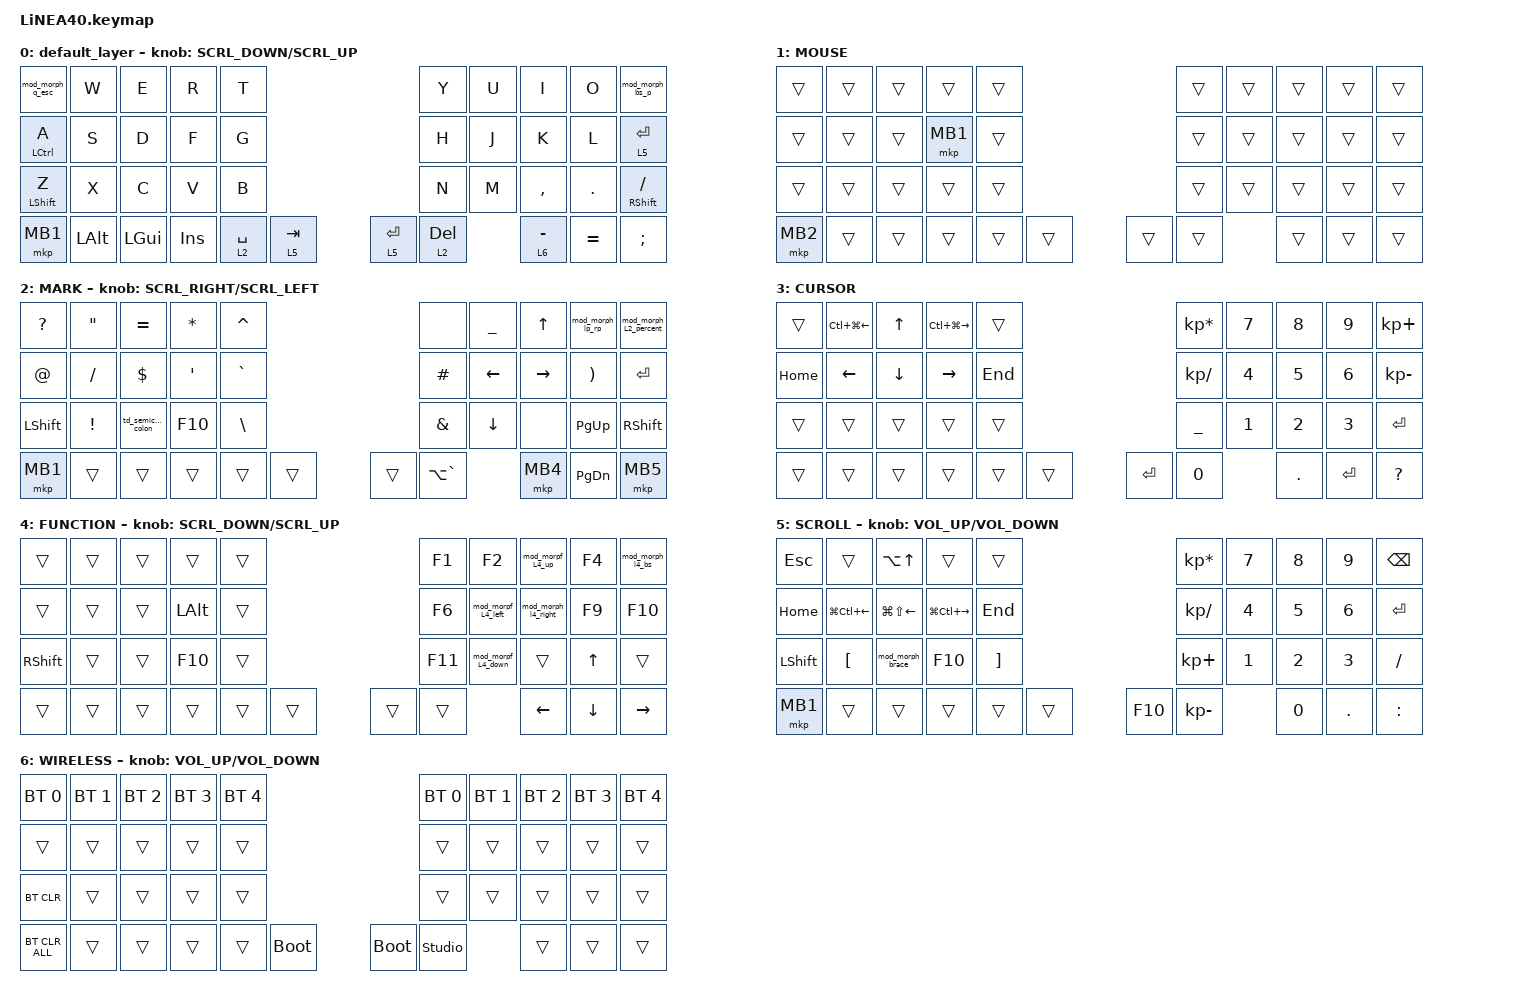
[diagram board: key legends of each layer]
#define ZMK_POINTING_DEFAULT_SCRL_VAL 150

#include <dt-bindings/zmk/input_transform.h>
#include <input/processors.dtsi>
#include <zephyr/dt-bindings/input/input-event-codes.h>
#include <behaviors.dtsi>
#include <dt-bindings/zmk/bt.h>
#include <dt-bindings/zmk/keys.h>
#include <dt-bindings/zmk/pointing.h>

#define MOUSE 1
#define MARK 2
#define CURSOR 3
#define FUNCTION 4
#define SCROLL 5
#define WIRELESS 6
#define COMBO_TERM 200

//mouse cursol

&mmv {
    delay-ms = <20>;
    trigger-period-ms = <5>;
    time-to-max-speed-ms = <100>;
    acceleration-exponent = <2>;
};

//mouse scroll

&msc {
    delay-ms = <3>;
    trigger-period-ms = <3>;
    time-to-max-speed-ms = <100>;
    acceleration-exponent = <0>;
};

/ {
    input_processors {
        zip_wheel_scaler: zip_wheel_scaler {
            compatible = "zmk,input-processor-scaler";
            #input-processor-cells = <2>;
            type = <INPUT_EV_REL>;
            codes = <INPUT_REL_WHEEL>;
            track-remainders;
        };
    };
};

&msc_input_listener {
    speed_up {
        layers = <FUNCTION>;
        input-processors = <&zip_wheel_scaler 3 1>; //スクロールを3倍速にする
    };
};

&trackball_listener {
    scroller {
        layers = <SCROLL>;
        input-processors =
            <&zip_xy_transform INPUT_TRANSFORM_Y_INVERT>,
            //スクロール方向を逆転,,,,,,,,,,,,,,,,,,,,,,,,,,,,,,,,,,,,,,,,,,,,,,,,,,,,,,,,,,,,,,,,,,,,,,,,,,,,,,,,,,,,,,,,,,,,,,,,,,,,,,,,,,,,,,,,,,,,,,,,,,,,,,,,,,,,,,,,,,,,,,,,,,,,,,,,,,,,,,,,,,,,,,,,,,,,,,,,,,,,,,,,,,,,,,,,,,,,,,,,,,,,,,,,,,,,,,,,,,,,,,,,,,,,,,,,,,,,,,,,,,,,,,,,,
            <&zip_xy_to_scroll_mapper>;
    };
};

/ {
    combos {
        compatible = "zmk,combos";

        Window {
            bindings = <&kp RIGHT_WIN>;
            key-positions = <17 16>;
            layers = <0 1>;
            slow-release;
        };

        Control {
            bindings = <&kp RCTRL>;
            key-positions = <18 17>;
            layers = <0 1>;
            slow-release;
        };

        p {
            bindings = <&kp P>;
            key-positions = <8 9>;
        };

        q {
            bindings = <&kp Q>;
            key-positions = <0 1>;
        };

        layer5 {
            bindings = <&mo 5>;
            key-positions = <34 23>;
            layers = <0 1>;
            slow-release;
        };

        layer4 {
            bindings = <&mo 4>;
            key-positions = <34 13>;
            layers = <0 1>;
            slow-release;
        };

        Right_Click2 {
            bindings = <&mkp MB2>;
            key-positions = <30 31>;
        };

        us_kana {
            bindings = <&kp LA(GRAVE)>;
            key-positions = <11 18>;
            layers = <0 1>;
        };

        aml_off {
            bindings = <&toggle_off 1>;
            key-positions = <12 17>;
        };
    };

    behaviors {
        re_kp: sensor_rotate_kp {
            compatible = "zmk,behavior-sensor-rotate-var";
            #sensor-binding-cells = <2>;
            bindings = <&kp>, <&kp>;
        };

        mouse_scrl: mouse_wheel_scrl {
            compatible = "zmk,behavior-sensor-rotate-var";
            #sensor-binding-cells = <2>;
            bindings = <&msc>, <&msc>;

            tap-ms = <20>;
        };

        td_tab_q: td_tab_q {
            compatible = "zmk,behavior-tap-dance";
            label = "td_tab_q";
            #binding-cells = <0>;
            bindings = <&kp TAB>, <&kp Q>;

            tapping-term-ms = <200>;
        };

        td_semicolon_colon: td_semicolon_colon {
            compatible = "zmk,behavior-tap-dance";
            label = "td_colon_behavior";
            #binding-cells = <0>;
            bindings = <&kp SEMICOLON>, <&kp COLON>;

            tapping-term-ms = <250>;
        };

        mod_morph_lp_rp: mod_morph_lp_rp_ {
            compatible = "zmk,behavior-mod-morph";
            label = "mod_morph_lp_rp";
            bindings = <&kp LEFT_PARENTHESIS>, <&kp RPAR>;

            #binding-cells = <0>;
            mods = <(MOD_LSFT|MOD_RSFT)>;
        };

        mod_morph_q_esc: mod_morph_q_esc_ {
            compatible = "zmk,behavior-mod-morph";
            label = "mod_morph_q_esc";
            bindings = <&kp ESCAPE>, <&kp Q>;

            #binding-cells = <0>;
            mods = <(MOD_RSFT)>;
        };

        mod_morph_bs_p: mod_morph_bs_p_ {
            compatible = "zmk,behavior-mod-morph";
            label = "mod_morph_bs_p";
            bindings = <&kp BACKSPACE>, <&kp P>;

            #binding-cells = <0>;
            mods = <(MOD_LSFT)>;
        };

        mod_morph_bracket: mod_morph_bracket_ {
            compatible = "zmk,behavior-mod-morph";
            label = "MOD_MORPH_BRACKET";
            bindings = <&kp LEFT_BRACKET>, <&kp RIGHT_BRACKET>;

            #binding-cells = <0>;
            mods = <(MOD_RSFT|MOD_LSFT)>;
        };

        mod_morph_brace: mod_morph_brace_ {
            compatible = "zmk,behavior-mod-morph";
            label = "MOD_MORPH_BRACE";
            bindings = <&kp LEFT_BRACE>, <&kp RIGHT_BRACE>;

            #binding-cells = <0>;
            mods = <(MOD_RSFT|MOD_LSFT)>;
        };

        mod_morph_del_percent: mod_morph_del_percent_ {
            compatible = "zmk,behavior-mod-morph";
            label = "MOD_MORPH_DEL_PERCENT";
            bindings = <&kp DELETE>, <&kp PERCENT>;

            #binding-cells = <0>;
            mods = <(MOD_LSFT|MOD_RSFT)>;
        };

        hold_tap_kp_kp: hold_tap_kp_kp_ {
            compatible = "zmk,behavior-hold-tap";
            label = "HOLD_TAP";
            bindings = <&kp>, <&kp>;

            #binding-cells = <2>;
            flavor = "balanced";
            tapping-term-ms = <200>;
            require-prior-idle-ms = <90>;
            quick-tap-ms = <90>;
        };

        hold_tap_lt_kp: hold_tap_lt_kp_ {
            compatible = "zmk,behavior-hold-tap";
            label = "HOLD_TAP_LT_KP";
            bindings = <&lt>, <&kp>;

            #binding-cells = <2>;
            flavor = "balanced";
            tapping-term-ms = <200>;
            require-prior-idle-ms = <100>;
            quick-tap-ms = <100>;
        };

        toggle_mode_off: toggle_mode_off_ {
            compatible = "zmk,behavior-toggle-layer";
            label = "TOGGLE_MODE_OFF";
            #binding-cells = <1>;
            toggle-mode = "off";
        };

        hold_tap_lt5: hold_tap_lt5 {
            compatible = "zmk,behavior-hold-tap";
            label = "HOLD_TAP_LT5";
            bindings = <&lt>, <&kp>;

            #binding-cells = <2>;
            flavor = "balanced";
            tapping-term-ms = <200>;
            require-prior-idle-ms = <100>;
            quick-tap-ms = <100>;
        };

        mod_morph_L2_percent: mod_morph_L2_percent_ {
            compatible = "zmk,behavior-mod-morph";
            label = "MOD_MORPH_L2_PERCENT";
            bindings = <&kp DELETE>, <&kp PERCENT>;

            #binding-cells = <0>;
            mods = <(MOD_LSFT)>;
        };

        toggle_off: toggle_off_ {
            compatible = "zmk,behavior-toggle-layer";
            label = "TOGGLE_OFF";
            #binding-cells = <1>;
            toggle-mode = "off";
        };

        mod_morpf_L4_up: mod_morpf_L4_up {
            compatible = "zmk,behavior-mod-morph";
            label = "MOD_MORPF_L4_UP";
            bindings = <&kp F3>, <&kp UP_ARROW>;

            #binding-cells = <0>;
            mods = <(MOD_LALT)>;
        };

        mod_morpf_L4_left: mod_morpf_L4_left {
            compatible = "zmk,behavior-mod-morph";
            label = "MOD_MORPF_L4_LEFT";
            bindings = <&kp F7>, <&kp LEFT>;

            #binding-cells = <0>;
            mods = <(MOD_LALT)>;
        };

        mod_morph_l4_right: mod_morph_l4_right {
            compatible = "zmk,behavior-mod-morph";
            label = "MOD_MORPH_L4_RIGHT";
            bindings = <&kp F8>, <&kp RIGHT_ARROW>;

            #binding-cells = <0>;
            mods = <(MOD_LALT)>;
        };

        mod_morpf_L4_down: mod_morpf_L4_down {
            compatible = "zmk,behavior-mod-morph";
            label = "MOD_MORPF_L4_DOWN";
            bindings = <&kp F12>, <&kp DOWN_ARROW>;

            #binding-cells = <0>;
            mods = <(MOD_LALT)>;
        };

        mod_morph_l4_bs: mod_morph_l4_bs {
            compatible = "zmk,behavior-mod-morph";
            label = "MOD_MORPH_L4_BS";
            bindings = <&kp F5>, <&kp BACKSPACE>;

            #binding-cells = <0>;
            mods = <(MOD_LALT)>;
        };
    };

    keymap {
        compatible = "zmk,keymap";

        default_layer {
            //            bindings = <
            //&kp Q          &kp W         &kp E               &kp R    &kp T                                      &kp Y        &kp U  &kp I                &kp O          &kp P
            //&kp A          &kp S         &kp D               &kp F    &kp G                                      &kp H        &kp J  &kp K                &kp L          &lt 5 MINUS
            //&kp Z          &kp X         &kp C               &kp V    &kp B                                      &kp N        &kp M  &kp COMMA            &kp DOT        &mt RIGHT_SHIFT BACKSPACE
            //&mt LCTRL ESC  &kp LEFT_WIN  &mt LEFT_ALT GRAVE  &kp INS  &lt 5 ENTER  &lt 2 TAB    &lt 2 BACKSPACE  &lt 4 SPACE         &lt 6 RIGHT_BRACKET  &kp BACKSLASH  &mt RIGHT_SHIFT SLASH
            //            >;

            bindings = <
&mod_morph_q_esc              &kp W         &kp E         &kp R    &kp T                                  &kp Y         &kp U  &kp I        &kp O      &mod_morph_bs_p
&hold_tap_kp_kp LCTRL A       &kp S         &kp D         &kp F    &kp G                                  &kp H         &kp J  &kp K        &kp L      &lt 5 ENTER
&hold_tap_kp_kp LEFT_SHIFT Z  &kp X         &kp C         &kp V    &kp B                                  &kp N         &kp M  &kp COMMA    &kp DOT    &hold_tap_kp_kp RIGHT_SHIFT SLASH
&mkp MB1                      &kp LEFT_ALT  &kp LEFT_GUI  &kp INS  &lt 2 SPACE  &lt 5 TAB    &lt 5 ENTER  &lt 2 DELETE         &lt 6 MINUS  &kp EQUAL  &kp SEMI
            >;

            sensor-bindings = <&mouse_scrl SCRL_DOWN SCRL_UP>;
        };

        //1

        MOUSE {
            bindings = <
&trans    &trans  &trans  &trans    &trans                    &trans  &trans  &trans  &trans  &trans
&trans    &trans  &trans  &mkp MB1  &trans                    &trans  &trans  &trans  &trans  &trans
&trans    &trans  &trans  &trans    &trans                    &trans  &trans  &trans  &trans  &trans
&mkp MB2  &trans  &trans  &trans    &trans  &trans    &trans  &trans          &trans  &trans  &trans
            >;
        };

        //2

        MARK {
            //            bindings = <
            //&kp EXCLAMATION             &kp AT           &kp HASH         &kp DOLLAR     &kp PERCENT                      &kp CARET     &kp AMPERSAND  &kp ASTERISK           &kp LEFT_PARENTHESIS  &kp LBKT
            //&kp SLASH                   &kp KP_NUMBER_4  &kp KP_NUMBER_5  &kp SEMICOLON  &kp SEMICOLON                    &kp C_MUTE    &kp LS(LBKT)   &kp RIGHT_BRACKET      &kp BACKSLASH         &kp EQUAL
            //&mt LEFT_SHIFT KP_NUMBER_0  &kp KP_NUMBER_1  &kp KP_NUMBER_2  &kp APOS       &kp SQT                          &kp KP_EQUAL  &kp INT3       &kp LS(RIGHT_BRACKET)  &kp LS(BACKSLASH)     &kp LS(INT1)
            //&trans                      &trans           &trans           &trans         &trans         &trans    &trans  &trans                       &kp ASTERISK           &kp LEFT_PARENTHESIS  &kp LS(QUESTION)
            //            >;

            bindings = <
&kp QUESTION    &kp DOUBLE_QUOTES  &kp EQUAL            &kp ASTRK  &kp CARET                        &none          &kp UNDERSCORE  &kp UP_ARROW     &mod_morph_lp_rp       &mod_morph_L2_percent
&kp AT          &kp SLASH          &kp DOLLAR           &kp APOS   &kp GRAVE                        &kp HASH       &kp LEFT_ARROW  &kp RIGHT_ARROW  &kp RIGHT_PARENTHESIS  &kp RET
&kp LEFT_SHIFT  &kp EXCL           &td_semicolon_colon  &kp F10    &kp BACKSLASH                    &kp AMPERSAND  &kp DOWN        &none            &kp PAGE_UP            &kp RIGHT_SHIFT
&mkp MB1        &trans             &trans               &trans     &trans         &trans    &trans  &kp LA(GRAVE)                  &mkp MB4         &kp PAGE_DOWN          &mkp MB5
            >;

            sensor-bindings = <&mouse_scrl SCRL_RIGHT SCRL_LEFT>;
        };

        //3

        CURSOR {
            bindings = <
&trans    &kp LC(LG(LEFT_ARROW))  &kp UP_ARROW  &kp LC(LG(RIGHT_ARROW))  &trans                        &kp KP_MULTIPLY  &kp NUMBER_7  &kp NUMBER_8  &kp NUMBER_9  &kp KP_PLUS
&kp HOME  &kp LEFT_ARROW          &kp DOWN      &kp RIGHT_ARROW          &kp END                       &kp KP_SLASH     &kp NUMBER_4  &kp NUMBER_5  &kp NUMBER_6  &kp KP_MINUS
&trans    &trans                  &trans        &trans                   &trans                        &kp UNDER        &kp NUMBER_1  &kp NUMBER_2  &kp NUMBER_3  &kp ENTER
&trans    &trans                  &trans        &trans                   &trans   &trans    &kp ENTER  &kp NUMBER_0                   &kp DOT       &kp ENTER     &kp QUESTION
            >;
        };

        //4

        FUNCTION {
            bindings = <
&trans           &trans  &trans  &trans        &trans                    &kp F1   &kp F2              &mod_morpf_L4_up     &kp F4    &mod_morph_l4_bs
&trans           &trans  &trans  &kp LEFT_ALT  &trans                    &kp F6   &mod_morpf_L4_left  &mod_morph_l4_right  &kp F9    &kp F10
&kp RIGHT_SHIFT  &trans  &trans  &kp F10       &trans                    &kp F11  &mod_morpf_L4_down  &trans               &kp UP    &trans
&trans           &trans  &trans  &trans        &trans  &trans    &trans  &trans                       &kp LEFT             &kp DOWN  &kp RIGHT_ARROW
            >;

            sensor-bindings = <&mouse_scrl SCRL_DOWN SCRL_UP>;
        };

        //5

        SCROLL {
            bindings = <
&kp ESC         &trans                  &kp LA(UP_ARROW)        &trans                   &trans                                &kp KP_MULTIPLY  &kp NUMBER_7  &kp NUMBER_8  &kp NUMBER_9  &kp BACKSPACE
&kp HOME        &kp LG(LC(LEFT_ARROW))  &kp LG(LS(LEFT_ARROW))  &kp LG(LC(RIGHT_ARROW))  &kp END                               &kp KP_SLASH     &kp NUMBER_4  &kp NUMBER_5  &kp NUMBER_6  &kp ENTER
&kp LEFT_SHIFT  &kp LEFT_BRACKET        &mod_morph_brace        &kp F10                  &kp RIGHT_BRACKET                     &kp KP_PLUS      &kp NUMBER_1  &kp NUMBER_2  &kp NUMBER_3  &kp SLASH
&mkp MB1        &trans                  &trans                  &trans                   &trans             &trans    &kp F10  &kp KP_MINUS                   &kp NUMBER_0  &kp PERIOD    &kp COLON
            >;

            sensor-bindings = <&re_kp C_VOLUME_UP C_VOLUME_DOWN>;
        };

        //6

        WIRELESS {
            bindings = <
&bt BT_SEL 0    &bt BT_SEL 1  &bt BT_SEL 2  &bt BT_SEL 3  &bt BT_SEL 4                              &bt BT_SEL 0    &bt BT_SEL 1  &bt BT_SEL 2  &bt BT_SEL 3  &bt BT_SEL 4
&trans          &trans        &trans        &trans        &trans                                    &trans          &trans        &trans        &trans        &trans
&bt BT_CLR      &trans        &trans        &trans        &trans                                    &trans          &trans        &trans        &trans        &trans
&bt BT_CLR_ALL  &trans        &trans        &trans        &trans        &bootloader    &bootloader  &studio_unlock                &trans        &trans        &trans
            >;

            sensor-bindings = <&re_kp C_VOLUME_UP C_VOLUME_DOWN>;
        };
    };
};
